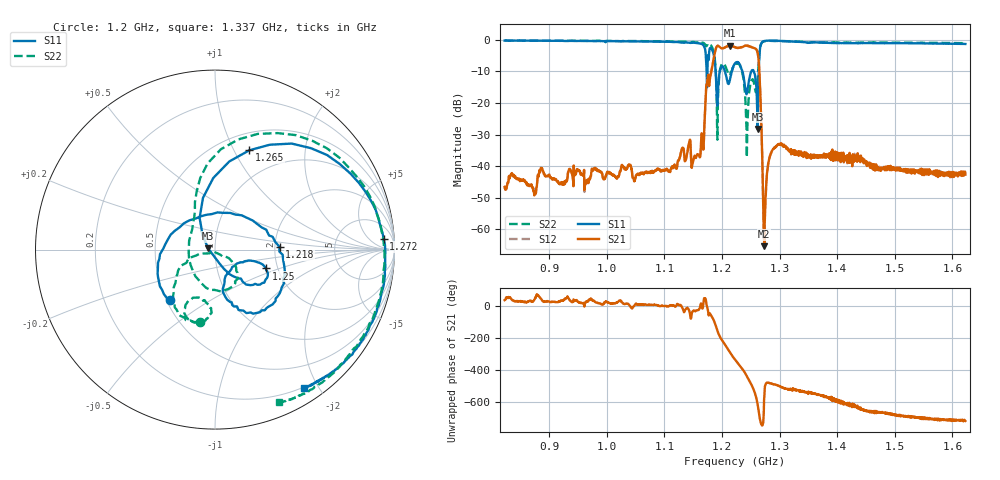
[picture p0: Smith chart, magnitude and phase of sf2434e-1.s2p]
!Agilent Technologies,E5071C,MY46104097,A.08.12
!Date: Fri Jul 28 11:34:44 2017
!Data & Calibration Information:
!Freq	S11:SOLT2(ON)	S21:SOLT2(ON)	S12:SOLT2(ON)	S22:SOLT2(ON)
# Hz S RI R 50
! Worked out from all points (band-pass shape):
!   1601 points, 822.5 MHz to 1.623 GHz, reference 50 ohm
!   highest |S21| = -1.88 dB at 1.214 GHz (marker M1); lowest = -65.3 dB at 1.274 GHz (marker M2)
!   |S21| within 3 dB of the highest: 1.187 GHz to 1.263 GHz (75.78 MHz wide, 6.19 % of centre)
!   lowest |S11| = -28.3 dB at 1.262 GHz (marker M3), VSWR 1.08, Z = 46.3 + j0.602 ohm
!   |S11| at or under -10 dB: 1.205 GHz to 1.217 GHz (12.23 MHz wide, 1.01 % of centre); 1.235 GHz to 1.251 GHz (15.8 MHz wide, 1.27 % of centre); 1.255 GHz to 1.264 GHz (8.54 MHz wide, 0.678 % of centre)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
!   |S22| runs from -37.2 to -0.3 dB; largest |S21 - S12| = 0.0036
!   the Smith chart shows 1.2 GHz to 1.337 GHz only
!   S11 on the Smith chart (normalised r, x): 1.2 GHz: 0.52, -0.34; 1.218 GHz: 2.12, +0.08; 1.25 GHz: 1.74, -0.40; 1.265 GHz: 0.68, +1.15; 1.272 GHz: 16, +17; 1.337 GHz: 0.18, -1.82
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8.225e8  0.5047 -0.8232  0.00382 0.00277  0.0036 0.00248  0.359 -0.8989
9.56e8  0.3423 -0.8883  0.00722 0.00224  0.00697 0.00227  0.1857 -0.9387
1.0895e9  0.0625 -0.9276  0.00906 0.000186  0.00909 1.33e-05  -0.0759 -0.9376
1.159e9  -0.4094 -0.7705  0.0135 -0.00651  0.0136 -0.00637  -0.4261 -0.7941
1.1785e9  -0.312 -0.6477  0.1563 -0.1583  0.1572 -0.1595  -0.6575 -0.5215
1.188e9  -0.398 0.0102  -0.2439 -0.5978  -0.2472 -0.5979  -0.4208 0.1204
1.2e9  -0.2486 -0.2811  -0.5965 0.4141  -0.5976 0.414  -0.0809 -0.4041
1.214e9  0.1483 0.1912  0.3068 0.745  0.3063 0.7466  -0.0581 -0.2813
1.2185e9  0.3595 0.0156  0.5699 0.5357  0.5713 0.5369  -0.0187 -0.3526
1.2225e9  0.3796 -0.1712  0.6911 0.3057  0.6915 0.3084  -0.0727 -0.4009
1.243e9  0.1096 -0.0902  0.1647 -0.7859  0.1649 -0.7852  -0.00933 -0.0101
1.25e9  0.2851 -0.1049  -0.4374 -0.6272  -0.4379 -0.6278  0.1117 -0.1768
1.2565e9  0.2126 -0.1963  -0.73 -0.0106  -0.7304 -0.0098  -0.1091 -0.1488
1.262e9  -0.0381 0.00648  -0.0991 0.6021  -0.1 0.6011  -0.112 0.2173
1.265e9  0.1905 0.553  0.251 0.1329  0.2501 0.1335  0.131 0.6142
1.272e9  0.9403 0.0593  0.00108 0.00036  0.00115 0.000741  0.9287 0.1003
1.2735e9  0.9484 -0.0393  -0.000491 0.000238  -0.000616 0.00023  0.9448 -0.0213
1.29e9  0.8056 -0.5236  -0.0124 -0.0146  -0.0124 -0.0146  0.7362 -0.6016
1.337e9  0.4972 -0.772  -0.017 -0.00223  -0.0171 -0.00237  0.3586 -0.8514
1.356e9  0.4486 -0.783  -0.0135 0.00148  -0.0134 0.0012  0.3061 -0.8551
1.4895e9  0.2372 -0.8471  0.00662 0.00743  0.00682 0.00737  0.0809 -0.8913
1.6225e9  0.1021 -0.8468  0.00736 1.56e-05  0.00745 -0.000295  -0.0363 -0.8788
